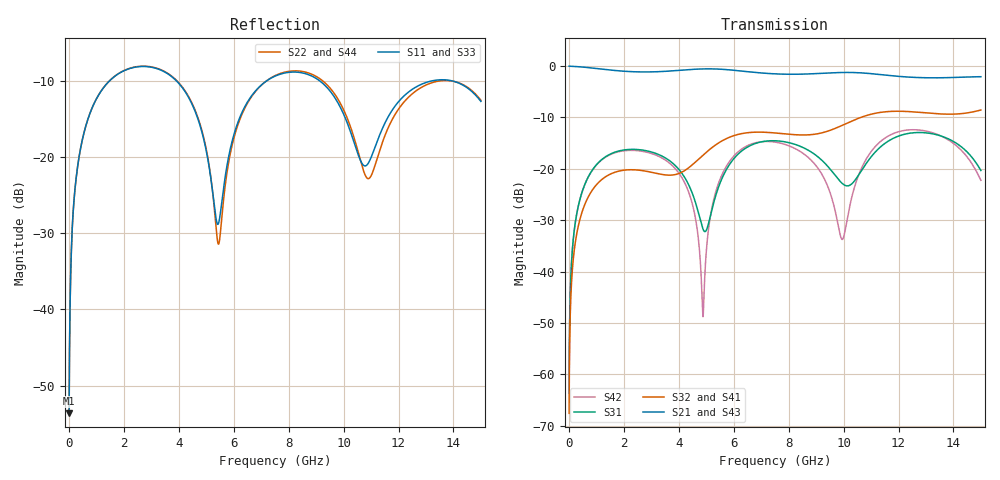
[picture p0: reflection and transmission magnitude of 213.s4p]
! Created with skrf 1.8.0 (http://scikit-rf.org).
# GHz S RI R 50.0
!freq ReS11 ImS11 ReS12 ImS12 ReS13 ImS13
! ReS14 ImS14
! ReS21 ImS21 ReS22 ImS22 ReS23 ImS23
! ReS24 ImS24
! ReS31 ImS31 ReS32 ImS32 ReS33 ImS33
! ReS34 ImS34
! ReS41 ImS41 ReS42 ImS42 ReS43 ImS43
! ReS44 ImS44
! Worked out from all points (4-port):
!   2499 points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, 5 MHz to 15 GHz, reference 50 ohm
!   strongest paths, dB at 5 MHz, 3.476 GHz, 7.19 GHz, 11.1 GHz, 15 GHz:
!     S21: 0.0, -1.0, -1.4, -1.5, -2.1
!     S43: 0.0, -1.0, -1.4, -1.5, -2.1
!     S32: -67.6, -21.2, -12.9, -9.3, -8.6
!     S41: -67.6, -21.2, -12.9, -9.3, -8.6
!     S31: -63.7, -17.8, -14.6, -17.1, -20.3
!     S42: -63.7, -18.2, -14.7, -16.0, -22.2
!   lowest |S11| = -53.6 dB at 5 MHz (marker M1), VSWR 1.00, Z = 50.2 + j0.126 ohm
!   |S11| at or under -10 dB: start of sweep to 1.473 GHz; 3.917 GHz to 7.193 GHz (3.276 GHz wide, 59 % of centre); 9.136 GHz to 13.2 GHz (4.062 GHz wide, 36.4 % of centre) (the widest 3 of 4)
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0.005  0.00165 0.00126  0.9983 -0.00322  8.3e-05 0.00065  -8.06e-05 -0.000408
       0.9983 -0.00322  0.00165 0.00126  -8.06e-05 -0.000408  8.29e-05 0.00065
       8.3e-05 0.00065  -8.06e-05 -0.000408  0.00165 0.00126  0.9983 -0.00322
       -8.06e-05 -0.000408  8.29e-05 0.00065  0.9983 -0.00322  0.00165 0.00126
0.3126303  0.0244 0.0827  0.9667 -0.2004  0.0113 0.0385  -0.00926 -0.0239
           0.9667 -0.2004  0.0244 0.0827  -0.00926 -0.0239  0.0109 0.0386
           0.0113 0.0385  -0.00926 -0.0239  0.0244 0.0827  0.9667 -0.2004
           -0.00926 -0.0239  0.0109 0.0386  0.9667 -0.2004  0.0244 0.0827
1.569404  0.2762 0.1773  0.5353 -0.7381  0.1308 0.0547  -0.0902 -0.00413
          0.5353 -0.7381  0.2779 0.1762  -0.0903 -0.004  0.1255 0.062
          0.1308 0.0547  -0.0903 -0.004  0.2762 0.1773  0.5353 -0.7381
          -0.0902 -0.00413  0.1255 0.062  0.5353 -0.7381  0.278 0.1761
4.883285  0.0719 -0.1159  -0.8652 -0.3643  -0.0228 -0.0121  -0.0494 0.1266
          -0.8652 -0.3643  0.0649 -0.1236  -0.0478 0.1272  0.00343 0.00122
          -0.0228 -0.0121  -0.0478 0.1272  0.0717 -0.1154  -0.8653 -0.3641
          -0.0494 0.1266  0.00343 0.00122  -0.8653 -0.3641  0.0647 -0.123
8.422259  0.3576 -0.0358  0.0111 0.8341  0.1297 -0.1029  0.2035 -0.0605
          0.0111 0.8341  0.3648 -0.0393  0.2035 -0.065  0.1314 -0.0669
          0.1297 -0.1029  0.2035 -0.065  0.3597 -0.0344  0.0109 0.833
          0.2035 -0.0605  0.1314 -0.0669  0.0109 0.833  0.3683 -0.0407
11.1609  0.1069 0.0508  0.8359 -0.0234  0.0167 0.1454  -0.0242 -0.3458
         0.8359 -0.0234  0.0837 0.0336  -0.0318 -0.346  0.0585 0.1547
         0.0167 0.1454  -0.0318 -0.346  0.1041 0.0453  0.8361 -0.0218
         -0.0242 -0.3458  0.0585 0.1547  0.8361 -0.0218  0.0868 0.03
15  0.2046 -0.11  -0.4127 -0.6715  -0.0143 -0.0952  -0.3111 0.2054
    -0.4127 -0.6715  0.2072 -0.1131  -0.3024 0.2196  -0.0125 -0.0763
    -0.0143 -0.0952  -0.3024 0.2196  0.2112 -0.0995  -0.4123 -0.6715
    -0.3111 0.2054  -0.0125 -0.0763  -0.4123 -0.6715  0.2019 -0.1243
